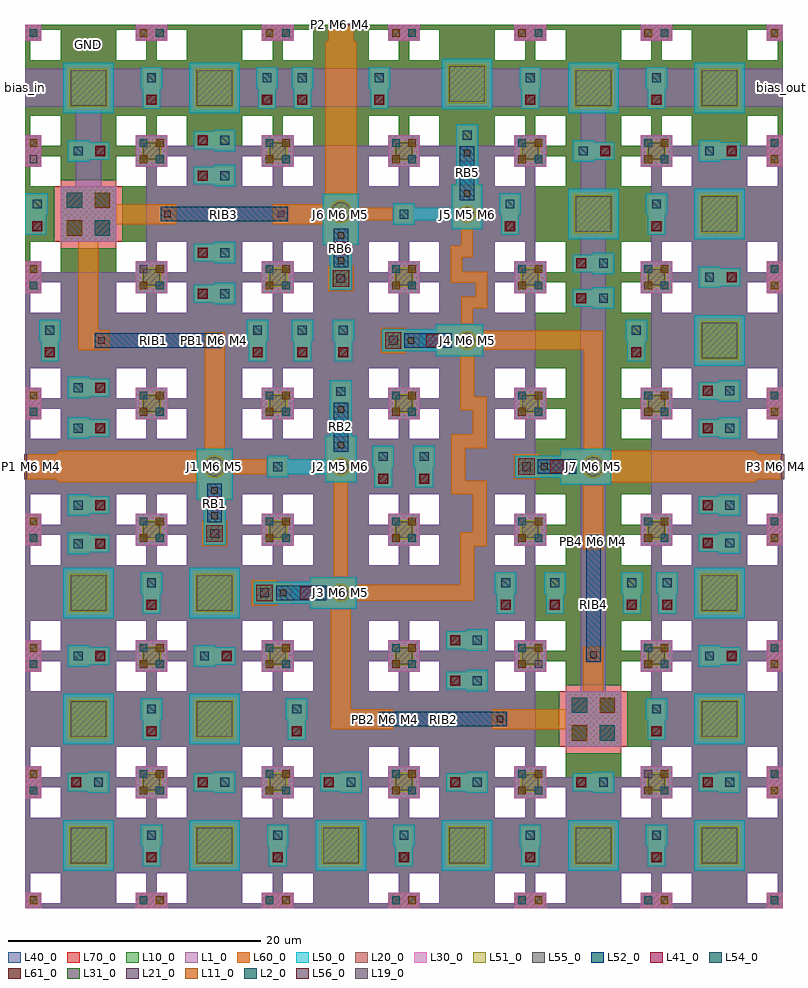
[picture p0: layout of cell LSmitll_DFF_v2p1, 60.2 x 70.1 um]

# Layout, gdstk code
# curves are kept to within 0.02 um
from math import pi, radians
import gdstk
lib = gdstk.Library(unit=1e-6, precision=1e-09)
def R(c, l, rs):  # rectangles x0, y0, x1, y1
    for r in rs: c.add(gdstk.rectangle(r[:2], r[2:], *l))
def P(c, l, *ps):  # polygons
    for p in ps: c.add(gdstk.Polygon(p, *l))
L1_0 = (1, 0)
L2_0 = (2, 0)
L10_0 = (10, 0)
L11_0 = (11, 0)
L19_0 = (19, 0)
L20_0 = (20, 0)
L21_0 = (21, 0)
L30_0 = (30, 0)
L31_0 = (31, 0)
L40_0 = (40, 0)
L41_0 = (41, 0)
L50_0 = (50, 0)
L51_0 = (51, 0)
L52_0 = (52, 0)
L54_0 = (54, 0)
L55_0 = (55, 0)
L56_0 = (56, 0)
L60_0 = (60, 0)
L61_0 = (61, 0)
L70_0 = (70, 0)

ls_tr_m7 = lib.new_cell('ls_tr_M7')
P(ls_tr_m7, L70_0, [(0,0),(0,10),(1.25,10),(1.25,8.75),(0.4,8.75),(0.4,1.25),(1.25,1.25),(1.25,0.4),(2.8,0.4),(2.8,2.8),(0.4,2.8),(0.4,7.2),(2.8,7.2),(2.8,9.6),(1.25,9.6),(1.25,10),(7.2,10),(7.2,0.4),(8.75,0.4),(8.75,1.25),(9.6,1.25),(9.6,2.8),(7.2,2.8),(7.2,7.2),(9.6,7.2),(9.6,8.75),(8.75,8.75),(8.75,9.6),(7.2,9.6),(7.2,10),(10,10),(10,0)])

ls_conn_m5m6 = lib.new_cell('ls_conn_M5M6')
R(ls_conn_m5m6, L50_0, [(0,0,1.7,1.7)])
R(ls_conn_m5m6, L54_0, [(0.5,0.5,1.2,1.2)])
R(ls_conn_m5m6, L60_0, [(0.15,0.15,1.55,1.55)])

ls_conn_m5m6m7 = lib.new_cell('ls_conn_M5M6M7')
R(ls_conn_m5m6m7, L50_0, [(-0.5,-0.5,1.2,1.2)])
R(ls_conn_m5m6m7, L54_0, [(0,0,0.7,0.7)])
R(ls_conn_m5m6m7, L60_0, [(-0.65,-0.65,1.35,1.35)])
R(ls_conn_m5m6m7, L61_0, [(-0.3,-0.3,1,1)])
R(ls_conn_m5m6m7, L70_0, [(-0.65,-0.65,1.35,1.35)])

ls_jj_169_sg = lib.new_cell('ls_jj_169_sg')
R(ls_jj_169_sg, L41_0, [(-0.5,2.25,0.5,3.25)])
R(ls_jj_169_sg, L50_0, [(-1.275,-1.275,1.275,2.475), (-0.875,2.475,0.875,6.725)])
P(ls_jj_169_sg, L51_0, [(0,-0.755),(-0.29,-0.7),(-0.535,-0.535),(-0.695,-0.29),(-0.755,0),(-0.695,0.285),(-0.535,0.53),(-0.29,0.695),(0,0.755),(0.29,0.695),(0.535,0.53),(0.695,0.285),(0.755,0),(0.695,-0.29),(0.535,-0.535),(0.29,-0.7)])
R(ls_jj_169_sg, L52_0, [(-0.575,1.2,0.575,4.975)])
R(ls_jj_169_sg, L54_0, [(-0.35,5.5,0.35,6.2)])
P(ls_jj_169_sg, L55_0, [(0,-0.6),(-0.12,-0.59),(-0.35,-0.5),(-0.56,-0.23),(-0.6,0),(-0.56,0.25),(-0.43,0.43),(-0.35,0.51),(-0.12,0.6),(0,0.61),(0.12,0.6),(0.35,0.51),(0.43,0.43),(0.56,0.25),(0.6,0),(0.56,-0.23),(0.43,-0.42),(0.35,-0.5),(0.12,-0.59)])
R(ls_jj_169_sg, L56_0, [(-0.26,1.48,0.26,2), (-0.26,4.18,0.26,4.7)])
R(ls_jj_169_sg, L60_0, [(-1.125,-1.125,1.125,2.375), (-0.725,3.8,0.725,6.575)])
ls_jj_169_sg.add(gdstk.Reference(ls_conn_m5m6m7, (-0.35,5.5)))

ls_ib_173 = lib.new_cell('ls_ib_173')
R(ls_ib_173, L52_0, [(-0.575,0,0.575,10.15)])
R(ls_ib_173, L56_0, [(-0.26,0.29,0.26,0.81), (-0.26,9.36,0.26,9.88)])
R(ls_ib_173, L60_0, [(-0.625,-0.1,0.625,1.175), (-0.625,9,0.625,10.25)])

ls_jj_161_s = lib.new_cell('ls_jj_161_s')
R(ls_jj_161_s, L50_0, [(-1.25,-1.25,1.25,2.45), (-0.875,2.45,0.875,6.825)])
P(ls_jj_161_s, L51_0, [(0,-0.735),(-0.28,-0.68),(-0.52,-0.52),(-0.68,-0.28),(-0.735,0),(-0.68,0.285),(-0.52,0.52),(-0.28,0.68),(0,0.74),(0.28,0.68),(0.52,0.52),(0.68,0.285),(0.735,0),(0.68,-0.28),(0.52,-0.52),(0.28,-0.68)])
R(ls_jj_161_s, L52_0, [(-0.575,1.175,0.575,5.075)])
R(ls_jj_161_s, L54_0, [(-0.35,5.6,0.35,6.3)])
P(ls_jj_161_s, L55_0, [(0,-0.59),(-0.22,-0.55),(-0.43,-0.42),(-0.59,-0.12),(-0.59,0.11),(-0.43,0.41),(-0.22,0.54),(0,0.58),(0.22,0.54),(0.43,0.41),(0.59,0.11),(0.59,-0.12),(0.43,-0.42),(0.22,-0.55)])
R(ls_jj_161_s, L56_0, [(-0.26,1.46,0.26,1.98), (-0.26,4.27,0.26,4.79)])
R(ls_jj_161_s, L60_0, [(-1.1,-1.1,1.1,2.35), (-0.725,3.9,0.725,6.675)])

ls_jj_250_sg = lib.new_cell('ls_jj_250_sg')
R(ls_jj_250_sg, L41_0, [(-0.5,2.4,0.5,3.4)])
R(ls_jj_250_sg, L50_0, [(-1.425,-1.425,1.425,2.625), (-0.875,2.625,0.875,6.175)])
P(ls_jj_250_sg, L51_0, [(0,-0.91),(-0.18,-0.895),(-0.35,-0.84),(-0.645,-0.645),(-0.84,-0.35),(-0.91,0),(-0.895,0.18),(-0.84,0.35),(-0.645,0.645),(-0.35,0.84),(-0.18,0.895),(0,0.91),(0.18,0.895),(0.35,0.84),(0.645,0.645),(0.84,0.35),(0.895,0.18),(0.91,0),(0.84,-0.35),(0.645,-0.645),(0.35,-0.84),(0.18,-0.895)])
R(ls_jj_250_sg, L52_0, [(-0.575,1.35,0.575,4.425)])
R(ls_jj_250_sg, L54_0, [(-0.35,4.95,0.35,5.65)])
P(ls_jj_250_sg, L55_0, [(0,-0.76),(-0.15,-0.75),(-0.29,-0.7),(-0.54,-0.54),(-0.7,-0.29),(-0.75,-0.15),(-0.76,0),(-0.75,0.15),(-0.7,0.29),(-0.54,0.54),(-0.29,0.7),(-0.15,0.75),(0,0.76),(0.15,0.75),(0.29,0.7),(0.54,0.54),(0.7,0.29),(0.75,0.15),(0.76,0),(0.75,-0.15),(0.7,-0.29),(0.54,-0.54),(0.29,-0.7),(0.15,-0.75)])
R(ls_jj_250_sg, L56_0, [(-0.26,1.64,0.26,2.16), (-0.26,3.63,0.26,4.15)])
R(ls_jj_250_sg, L60_0, [(-1.275,-1.275,1.275,2.525), (-0.725,3.25,0.725,6.025)])
ls_jj_250_sg.add(gdstk.Reference(ls_conn_m5m6m7, (-0.35,4.95)))

ls_tr_u_m4_alt = lib.new_cell('ls_tr_u_M4_alt')
R(ls_tr_u_m4_alt, L1_0, [(0,0,1.25,1.25), (8.75,0,10,1.25), (0,8.75,1.25,10), (8.75,8.75,10,10)])
R(ls_tr_u_m4_alt, L2_0, [(9.05,0.35,9.65,0.95), (0.35,9.05,0.95,9.65)])
R(ls_tr_u_m4_alt, L10_0, [(0,0,1.25,1.25), (1.25,0,8.75,0.4), (8.75,0,10,1.25), (2.8,0.4,7.2,9.6), (0,1.25,0.4,8.75), (9.6,1.25,10,8.75), (0.4,2.8,2.8,7.2), (7.2,2.8,9.6,7.2), (0,8.75,1.25,10), (8.75,8.75,10,10), (1.25,9.6,8.75,10)])
R(ls_tr_u_m4_alt, L11_0, [(0.35,0.35,0.95,0.95), (9.05,9.05,9.65,9.65)])
R(ls_tr_u_m4_alt, L20_0, [(0,0,1.25,1.25), (8.75,0,10,1.25), (0,8.75,1.25,10), (8.75,8.75,10,10)])
R(ls_tr_u_m4_alt, L21_0, [(9.05,0.35,9.65,0.95), (0.35,9.05,0.95,9.65)])
R(ls_tr_u_m4_alt, L30_0, [(0,0,1.25,1.25), (8.75,0,10,1.25), (0,8.75,1.25,10), (8.75,8.75,10,10)])
R(ls_tr_u_m4_alt, L31_0, [(0.35,0.35,0.95,0.95), (9.05,9.05,9.65,9.65)])
P(ls_tr_u_m4_alt, L40_0, [(0,0),(0,10),(1.25,10),(1.25,8.75),(0.4,8.75),(0.4,1.25),(1.25,1.25),(1.25,0.4),(2.8,0.4),(2.8,2.8),(0.4,2.8),(0.4,7.2),(2.8,7.2),(2.8,9.6),(1.25,9.6),(1.25,10),(7.2,10),(7.2,0.4),(8.75,0.4),(8.75,1.25),(9.6,1.25),(9.6,2.8),(7.2,2.8),(7.2,7.2),(9.6,7.2),(9.6,8.75),(8.75,8.75),(8.75,9.6),(7.2,9.6),(7.2,10),(10,10),(10,0)])

ls_conn_m4m5m6m7 = lib.new_cell('ls_conn_M4M5M6M7')
R(ls_conn_m4m5m6m7, L40_0, [(0,0,1.4,1.4)])
R(ls_conn_m4m5m6m7, L41_0, [(0.3,0.3,1.1,1.1)])
P(ls_conn_m4m5m6m7, L50_0, [(1.6,-0.15),(1.6,0),(0,0),(0,1.4),(1.6,1.4),(1.6,1.55),(3.3,1.55),(3.3,-0.15)])
R(ls_conn_m4m5m6m7, L54_0, [(2.1,0.35,2.8,1.05)])
R(ls_conn_m4m5m6m7, L60_0, [(0,0,3.15,1.4)])
R(ls_conn_m4m5m6m7, L61_0, [(0.35,0.35,1.05,1.05)])
R(ls_conn_m4m5m6m7, L70_0, [(0,0,1.4,1.4)])

ls_fakejj_1p5x1p5um = lib.new_cell('ls_FakeJJ_1p5x1p5um')
R(ls_fakejj_1p5x1p5um, L40_0, [(-1.25,-1.25,1.25,1.25)])
R(ls_fakejj_1p5x1p5um, L50_0, [(-1.25,-1.25,1.25,1.25)])
R(ls_fakejj_1p5x1p5um, L51_0, [(-0.75,-0.75,0.75,0.75)])
R(ls_fakejj_1p5x1p5um, L55_0, [(-0.65,-0.65,0.65,0.65)])
R(ls_fakejj_1p5x1p5um, L60_0, [(-1,-1,1,1)])

ls_tr_m0 = lib.new_cell('ls_tr_M0')
P(ls_tr_m0, L1_0, [(0,0),(0,10),(1.25,10),(1.25,8.75),(0.4,8.75),(0.4,1.25),(1.25,1.25),(1.25,0.4),(2.8,0.4),(2.8,2.8),(0.4,2.8),(0.4,7.2),(2.8,7.2),(2.8,9.6),(1.25,9.6),(1.25,10),(7.2,10),(7.2,0.4),(8.75,0.4),(8.75,1.25),(9.6,1.25),(9.6,2.8),(7.2,2.8),(7.2,7.2),(9.6,7.2),(9.6,8.75),(8.75,8.75),(8.75,9.6),(7.2,9.6),(7.2,10),(10,10),(10,0)])

ls_fakejj_3umx3um = lib.new_cell('ls_FakeJJ_3umx3um')
R(ls_fakejj_3umx3um, L40_0, [(-2,-2,2,2)])
R(ls_fakejj_3umx3um, L50_0, [(-2,-2,2,2)])
R(ls_fakejj_3umx3um, L51_0, [(-1.5,-1.5,1.5,1.5)])
R(ls_fakejj_3umx3um, L55_0, [(-1.4,-1.4,1.4,1.4)])
R(ls_fakejj_3umx3um, L60_0, [(-1.75,-1.75,1.75,1.75)])

ls_jj_138_s = lib.new_cell('ls_jj_138_s')
R(ls_jj_138_s, L50_0, [(-1.2,-1.2,1.2,2.375), (-0.875,2.375,0.875,7.125)])
P(ls_jj_138_s, L51_0, [(0,-0.685),(-0.26,-0.635),(-0.485,-0.485),(-0.63,-0.265),(-0.685,0),(-0.63,0.26),(-0.485,0.485),(-0.26,0.63),(0,0.685),(0.26,0.63),(0.485,0.485),(0.63,0.26),(0.685,0),(0.63,-0.265),(0.485,-0.485),(0.26,-0.635)])
R(ls_jj_138_s, L52_0, [(-0.575,1.1,0.575,5.375)])
R(ls_jj_138_s, L54_0, [(-0.35,5.9,0.35,6.6)])
P(ls_jj_138_s, L55_0, [(0,-0.53),(-0.2,-0.49),(-0.38,-0.37),(-0.49,-0.2),(-0.53,0),(-0.49,0.21),(-0.38,0.38),(-0.2,0.5),(0,0.54),(0.2,0.5),(0.38,0.38),(0.49,0.21),(0.53,0),(0.49,-0.2),(0.38,-0.37),(0.2,-0.49)])
R(ls_jj_138_s, L56_0, [(-0.26,1.38,0.26,1.9), (-0.26,4.58,0.26,5.1)])
R(ls_jj_138_s, L60_0, [(-1.05,-1.05,1.05,2.275), (-0.725,4.2,0.725,6.975)])

ls_tr_bias_pillar_m0m6 = lib.new_cell('ls_tr_bias_pillar_M0M6')
R(ls_tr_bias_pillar_m0m6, L1_0, [(0,0,1.25,1.25), (8.75,0,10,1.25), (2.8,2.8,7.2,7.2), (0,8.75,1.25,10), (8.75,8.75,10,10)])
R(ls_tr_bias_pillar_m0m6, L2_0, [(5.5,3.3,6.7,4.5), (3.3,5.5,4.5,6.7)])
R(ls_tr_bias_pillar_m0m6, L10_0, [(0,0,1.25,1.25), (8.75,0,10,1.25), (2.8,2.8,7.2,7.2), (0,8.75,1.25,10), (8.75,8.75,10,10)])
P(ls_tr_bias_pillar_m0m6, L10_0, [(0,0),(0,10),(7.2,10),(7.2,7.7),(2.8,7.7),(2.8,9.6),(1.25,9.6),(1.25,8.75),(0.4,8.75),(0.4,7.2),(2.3,7.2),(2.3,2.8),(0.4,2.8),(0.4,1.25),(1.25,1.25),(1.25,0.4),(2.8,0.4),(2.8,2.3),(7.2,2.3),(7.2,0.4),(8.75,0.4),(8.75,1.25),(9.6,1.25),(9.6,2.8),(7.7,2.8),(7.7,7.2),(9.6,7.2),(9.6,8.75),(8.75,8.75),(8.75,9.6),(7.2,9.6),(7.2,10),(10,10),(10,0)])
R(ls_tr_bias_pillar_m0m6, L11_0, [(0.35,0.35,0.95,0.95), (3.3,3.3,4.5,4.5), (5.5,5.5,6.7,6.7), (9.05,9.05,9.65,9.65)])
R(ls_tr_bias_pillar_m0m6, L20_0, [(0,0,1.25,1.25), (8.75,0,10,1.25), (2.8,2.8,7.2,7.2), (0,8.75,1.25,10), (8.75,8.75,10,10)])
R(ls_tr_bias_pillar_m0m6, L21_0, [(9.05,0.35,9.65,0.95), (5.5,3.3,6.7,4.5), (3.3,5.5,4.5,6.7), (0.35,9.05,0.95,9.65)])
R(ls_tr_bias_pillar_m0m6, L30_0, [(0,0,1.25,1.25), (8.75,0,10,1.25), (2.8,2.8,7.2,7.2), (0,8.75,1.25,10), (8.75,8.75,10,10)])
R(ls_tr_bias_pillar_m0m6, L31_0, [(0.35,0.35,0.95,0.95), (3.3,3.3,4.5,4.5), (5.5,5.5,6.7,6.7), (9.05,9.05,9.65,9.65)])
R(ls_tr_bias_pillar_m0m6, L40_0, [(2.8,2.8,7.2,7.2)])
P(ls_tr_bias_pillar_m0m6, L40_0, [(0,0),(0,10),(7.2,10),(7.2,7.7),(2.8,7.7),(2.8,9.6),(1.25,9.6),(1.25,8.75),(0.4,8.75),(0.4,7.2),(2.3,7.2),(2.3,2.8),(0.4,2.8),(0.4,1.25),(1.25,1.25),(1.25,0.4),(2.8,0.4),(2.8,2.3),(7.2,2.3),(7.2,0.4),(8.75,0.4),(8.75,1.25),(9.6,1.25),(9.6,2.8),(7.7,2.8),(7.7,7.2),(9.6,7.2),(9.6,8.75),(8.75,8.75),(8.75,9.6),(7.2,9.6),(7.2,10),(10,10),(10,0)])
R(ls_tr_bias_pillar_m0m6, L41_0, [(5.5,3.3,6.7,4.5), (3.3,5.5,4.5,6.7)])
R(ls_tr_bias_pillar_m0m6, L50_0, [(2.8,2.8,7.2,7.2)])
R(ls_tr_bias_pillar_m0m6, L54_0, [(3.3,3.3,4.5,4.5), (5.5,5.5,6.7,6.7)])
R(ls_tr_bias_pillar_m0m6, L60_0, [(2.8,2.8,7.2,7.2)])
P(ls_tr_bias_pillar_m0m6, L70_0, [(0,0),(0,10),(1.25,10),(1.25,8.75),(0.4,8.75),(0.4,1.25),(1.25,1.25),(1.25,0.4),(2.8,0.4),(2.8,2.8),(0.4,2.8),(0.4,7.2),(2.8,7.2),(2.8,9.6),(1.25,9.6),(1.25,10),(7.2,10),(7.2,0.4),(8.75,0.4),(8.75,1.25),(9.6,1.25),(9.6,2.8),(7.2,2.8),(7.2,7.2),(9.6,7.2),(9.6,8.75),(8.75,8.75),(8.75,9.6),(7.2,9.6),(7.2,10),(10,10),(10,0)])

ls_ib_175 = lib.new_cell('ls_ib_175')
R(ls_ib_175, L52_0, [(-0.575,0,0.575,10.05)])
R(ls_ib_175, L56_0, [(-0.26,0.29,0.26,0.81), (-0.26,9.26,0.26,9.78)])
R(ls_ib_175, L60_0, [(-0.625,-0.1,0.625,1.175), (-0.625,8.875,0.625,10.15)])

ls_jj_154_sg = lib.new_cell('ls_jj_154_sg')
R(ls_jj_154_sg, L41_0, [(-0.5,2.225,0.5,3.225)])
R(ls_jj_154_sg, L50_0, [(-1.25,-1.25,1.25,2.425), (-0.875,2.425,0.875,6.875)])
P(ls_jj_154_sg, L51_0, [(0,-0.72),(-0.275,-0.665),(-0.51,-0.51),(-0.665,-0.275),(-0.72,0),(-0.665,0.275),(-0.51,0.51),(-0.275,0.665),(0,0.72),(0.275,0.665),(0.51,0.51),(0.665,0.275),(0.72,0),(0.665,-0.275),(0.51,-0.51),(0.275,-0.665)])
R(ls_jj_154_sg, L52_0, [(-0.575,1.15,0.575,5.125)])
P(ls_jj_154_sg, L55_0, [(0,-0.57),(-0.22,-0.53),(-0.49,-0.32),(-0.57,0),(-0.49,0.32),(-0.32,0.48),(-0.22,0.53),(0,0.57),(0.22,0.53),(0.4,0.41),(0.49,0.32),(0.57,0),(0.49,-0.32),(0.22,-0.53)])
R(ls_jj_154_sg, L56_0, [(-0.26,1.42,0.26,1.94), (-0.26,4.34,0.26,4.86)])
R(ls_jj_154_sg, L60_0, [(-1.1,-1.1,1.1,2.325), (-0.725,3.95,0.725,6.725)])
ls_jj_154_sg.add(gdstk.Reference(ls_conn_m5m6m7, (-0.35,5.7)))

lsmitll_dff_v2p1 = lib.new_cell('LSmitll_DFF_v2p1')
R(lsmitll_dff_v2p1, L1_0, [(41.25,10,48.75,10.4), (40,11.25,40.4,58.75), (49.6,11.25,50,58.75), (1.25,50,8.75,50.4), (9.6,51.25,10,58.75), (11.25,60,38.75,60.4), (51.25,60,58.75,60.4)])
R(lsmitll_dff_v2p1, L19_0, [(28.3,14.8,28.75,15.25), (44.8,28.85,45.25,29.3), (14.75,44.75,15.25,45.25), (20,54.75,20.5,55.25)])
R(lsmitll_dff_v2p1, L50_0, [(0,53.35,0.3,56.65)])
R(lsmitll_dff_v2p1, L60_0, [(0,53.35,0.3,56.5)])
P(lsmitll_dff_v2p1, L60_0, [(23.75,68.55),(24,68.8),(24,68.55)],
  [(26,68.55),(26,68.8),(26.25,68.55)],
  [(57.8,36),(57.8,36.25),(58.05,36)],
  [(57.8,33.75),(57.8,34),(58.05,34)],
  [(2.45,36),(2.7,36.25),(2.7,36)],
  [(2.7,33.75),(2.45,34),(2.7,34)])
lsmitll_dff_v2p1.add(gdstk.FlexPath([(45,15),(45,20.75)], 1.6, ends="flush", simple_path=True, layer=60, datatype=0))  # L60_0
lsmitll_dff_v2p1.add(gdstk.FlexPath([(45,15),(36.95,15)], 1.6, ends="flush", simple_path=True, layer=60, datatype=0))  # L60_0
lsmitll_dff_v2p1.add(gdstk.FlexPath([(25,23.9),(25,15),(29.15,15)], 1.6, ends="flush", simple_path=True, layer=60, datatype=0))  # L60_0
lsmitll_dff_v2p1.add(gdstk.FlexPath([(5,55),(11.95,55)], 1.6, ends="flush", simple_path=True, layer=60, datatype=0))  # L60_0
lsmitll_dff_v2p1.add(gdstk.FlexPath([(19.6,55),(23.75,55)], 1.6, ends="flush", simple_path=True, layer=60, datatype=0))  # L60_0
lsmitll_dff_v2p1.add(gdstk.FlexPath([(6.7,45),(5,45),(5,55)], 1.6, ends="flush", simple_path=True, layer=60, datatype=0))  # L60_0
lsmitll_dff_v2p1.add(gdstk.FlexPath([(15,36.25),(15,45.65)], 1.6, ends="flush", simple_path=True, layer=60, datatype=0))  # L60_0
lsmitll_dff_v2p1.add(gdstk.FlexPath([(0,35),(13.75,35)], 2, ends="flush", simple_path=True, layer=60, datatype=0))  # L60_0
lsmitll_dff_v2p1.add(gdstk.FlexPath([(45,45.7),(45,36.15)], 1.5, ends="flush", simple_path=True, layer=60, datatype=0))  # L60_0
lsmitll_dff_v2p1.add(gdstk.FlexPath([(36.05,45),(45.75,45)], 1.5, ends="flush", simple_path=True, layer=60, datatype=0))  # L60_0
lsmitll_dff_v2p1.add(gdstk.FlexPath([(26.25,55),(30.7,55)], 1, ends="flush", simple_path=True, layer=60, datatype=0))  # L60_0
lsmitll_dff_v2p1.add(gdstk.FlexPath([(25,70),(25,56.25)], 2, ends="flush", simple_path=True, layer=60, datatype=0))  # L60_0
lsmitll_dff_v2p1.add(gdstk.FlexPath([(60,35),(46.25,35)], 2, ends="flush", simple_path=True, layer=60, datatype=0))  # L60_0
lsmitll_dff_v2p1.add(gdstk.FlexPath([(45,33.75),(45,28.4)], 1.6, ends="flush", simple_path=True, layer=60, datatype=0))  # L60_0
lsmitll_dff_v2p1.add(gdstk.FlexPath([(26,25),(35.55,25)], 1.25, ends="flush", simple_path=True, layer=60, datatype=0))  # L60_0
lsmitll_dff_v2p1.add(gdstk.FlexPath([(25,26.1),(25,33.95)], 1.1, ends="flush", simple_path=True, layer=60, datatype=0))  # L60_0
lsmitll_dff_v2p1.add(gdstk.FlexPath([(20.7,35),(16.25,35)], 1.2, ends="flush", simple_path=True, layer=60, datatype=0))  # L60_0
lsmitll_dff_v2p1.add(gdstk.FlexPath([(2.7,35),(14.45,35)], 2.5, ends="flush", simple_path=True, layer=60, datatype=0))  # L60_0
lsmitll_dff_v2p1.add(gdstk.FlexPath([(25,68.55),(25,55.8)], 2.5, ends="flush", simple_path=True, layer=60, datatype=0))  # L60_0
lsmitll_dff_v2p1.add(gdstk.FlexPath([(46.05,35),(57.8,35)], 2.5, ends="flush", simple_path=True, layer=60, datatype=0))  # L60_0
lsmitll_dff_v2p1.add(gdstk.FlexPath([(35,54),(35,52.05),(34.15,52.05),(34.15,50),(36.15,50),(36.15,48),(35,48),(35,46)], 0.9, ends="flush", simple_path=True, layer=60, datatype=0))  # L60_0
lsmitll_dff_v2p1.add(gdstk.FlexPath([(35,25),(35,29.25),(36,29.25),(36,33.35),(34.3,33.35),(34.3,37),(36,37),(36,40),(35,40),(35,43.9)], 1.1, ends="flush", simple_path=True, layer=60, datatype=0))  # L60_0
lsmitll_dff_v2p1.add(gdstk.FlexPath([(29.15,55),(33.85,55)], 1, ends="flush", simple_path=True, layer=50, datatype=0))  # L50_0
lsmitll_dff_v2p1.add(gdstk.FlexPath([(23.75,35),(19.15,35)], 1.2, ends="flush", simple_path=True, layer=50, datatype=0))  # L50_0
lsmitll_dff_v2p1.add(gdstk.FlexPath([(0,65),(60,65)], 3, ends="flush", simple_path=True, layer=1, datatype=0))  # L1_0
lsmitll_dff_v2p1.add(gdstk.FlexPath([(5,65),(5,55)], 2, ends="flush", simple_path=True, layer=1, datatype=0))  # L1_0
lsmitll_dff_v2p1.add(gdstk.FlexPath([(45,15),(45,65)], 2, ends="flush", simple_path=True, layer=1, datatype=0))  # L1_0
lsmitll_dff_v2p1.add(gdstk.FlexPath([(60,34),(60,36)], 0.2, ends="flush", simple_path=True, layer=19, datatype=0))  # L19_0
lsmitll_dff_v2p1.add(gdstk.FlexPath([(24,70),(26,70)], 0.2, ends="flush", simple_path=True, layer=19, datatype=0))  # L19_0
lsmitll_dff_v2p1.add(gdstk.FlexPath([(0,36),(0,34)], 0.2, ends="flush", simple_path=True, layer=19, datatype=0))  # L19_0
r = gdstk.Reference(ls_tr_m7, (0,0)); r.repetition = gdstk.Repetition(6, 7, v1=(10,0), v2=(0,10)); lsmitll_dff_v2p1.add(r)
lsmitll_dff_v2p1.add(gdstk.Reference(ls_conn_m5m6, (29.15,54.15)))
lsmitll_dff_v2p1.add(gdstk.Reference(ls_jj_169_sg, (35,45), rotation=pi/2))
lsmitll_dff_v2p1.add(gdstk.Reference(ls_ib_173, (38.15,15), rotation=pi/2))
lsmitll_dff_v2p1.add(gdstk.Reference(ls_conn_m5m6, (19.15,34.15)))
lsmitll_dff_v2p1.add(gdstk.Reference(ls_jj_161_s, (25,35)))
lsmitll_dff_v2p1.add(gdstk.Reference(ls_jj_250_sg, (15,35), rotation=pi))
lsmitll_dff_v2p1.add(gdstk.Reference(ls_tr_u_m4_alt, (40,30)))
lsmitll_dff_v2p1.add(gdstk.Reference(ls_tr_u_m4_alt, (30,30)))
lsmitll_dff_v2p1.add(gdstk.Reference(ls_tr_u_m4_alt, (20,30)))
lsmitll_dff_v2p1.add(gdstk.Reference(ls_tr_u_m4_alt, (10,30)))
lsmitll_dff_v2p1.add(gdstk.Reference(ls_tr_u_m4_alt, (0,30)))
lsmitll_dff_v2p1.add(gdstk.Reference(ls_tr_u_m4_alt, (50,30)))
lsmitll_dff_v2p1.add(gdstk.Reference(ls_jj_250_sg, (45,35), rotation=pi/2))
lsmitll_dff_v2p1.add(gdstk.Reference(ls_conn_m4m5m6m7, (32.3,33.35), rotation=pi/2))
lsmitll_dff_v2p1.add(gdstk.Reference(ls_conn_m4m5m6m7, (29.05,33.35), rotation=pi/2))
lsmitll_dff_v2p1.add(gdstk.Reference(ls_fakejj_1p5x1p5um, (30,60)))
lsmitll_dff_v2p1.add(gdstk.Reference(ls_fakejj_1p5x1p5um, (30,50)))
lsmitll_dff_v2p1.add(gdstk.Reference(ls_fakejj_1p5x1p5um, (30,40)))
lsmitll_dff_v2p1.add(gdstk.Reference(ls_fakejj_1p5x1p5um, (30,30)))
lsmitll_dff_v2p1.add(gdstk.Reference(ls_fakejj_1p5x1p5um, (30,20)))
lsmitll_dff_v2p1.add(gdstk.Reference(ls_conn_m4m5m6m7, (30.7,3.35), rotation=pi/2))
lsmitll_dff_v2p1.add(gdstk.Reference(ls_fakejj_1p5x1p5um, (30,10)))
lsmitll_dff_v2p1.add(gdstk.Reference(ls_tr_m0, (50,30)))
lsmitll_dff_v2p1.add(gdstk.Reference(ls_tr_m0, (30,30)))
lsmitll_dff_v2p1.add(gdstk.Reference(ls_tr_m0, (0,30)))
lsmitll_dff_v2p1.add(gdstk.Reference(ls_tr_m0, (10,30)))
lsmitll_dff_v2p1.add(gdstk.Reference(ls_tr_m0, (20,30)))
lsmitll_dff_v2p1.add(gdstk.Reference(ls_tr_u_m4_alt, (50,50)))
lsmitll_dff_v2p1.add(gdstk.Reference(ls_tr_u_m4_alt, (50,40)))
lsmitll_dff_v2p1.add(gdstk.Reference(ls_conn_m4m5m6m7, (56.65,59.3), rotation=pi, x_reflection=True))
lsmitll_dff_v2p1.add(gdstk.Reference(ls_conn_m4m5m6m7, (46.65,59.3), rotation=pi, x_reflection=True))
lsmitll_dff_v2p1.add(gdstk.Reference(ls_conn_m4m5m6m7, (53.35,37.35)))
lsmitll_dff_v2p1.add(gdstk.Reference(ls_conn_m4m5m6m7, (39.1,53.35), rotation=pi/2))
lsmitll_dff_v2p1.add(gdstk.Reference(ls_conn_m4m5m6m7, (49.1,43.35), rotation=pi/2))
lsmitll_dff_v2p1.add(gdstk.Reference(ls_conn_m4m5m6m7, (50.7,53.35), rotation=pi/2))
lsmitll_dff_v2p1.add(gdstk.Reference(ls_conn_m4m5m6m7, (50.7,63.35), rotation=pi/2))
lsmitll_dff_v2p1.add(gdstk.Reference(ls_conn_m4m5m6m7, (43.35,47.65)))
lsmitll_dff_v2p1.add(gdstk.Reference(ls_conn_m4m5m6m7, (40.7,63.35), rotation=pi/2))
lsmitll_dff_v2p1.add(gdstk.Reference(ls_fakejj_1p5x1p5um, (40,60)))
lsmitll_dff_v2p1.add(gdstk.Reference(ls_fakejj_1p5x1p5um, (50,60)))
lsmitll_dff_v2p1.add(gdstk.Reference(ls_fakejj_1p5x1p5um, (50,50)))
lsmitll_dff_v2p1.add(gdstk.Reference(ls_fakejj_1p5x1p5um, (40,50)))
lsmitll_dff_v2p1.add(gdstk.Reference(ls_tr_u_m4_alt, (40,40)))
lsmitll_dff_v2p1.add(gdstk.Reference(ls_tr_u_m4_alt, (40,50)))
lsmitll_dff_v2p1.add(gdstk.Reference(ls_fakejj_1p5x1p5um, (40,40)))
lsmitll_dff_v2p1.add(gdstk.Reference(ls_fakejj_1p5x1p5um, (50,40)))
lsmitll_dff_v2p1.add(gdstk.Reference(ls_tr_u_m4_alt, (40,60)))
lsmitll_dff_v2p1.add(gdstk.Reference(ls_tr_u_m4_alt, (30,60)))
lsmitll_dff_v2p1.add(gdstk.Reference(ls_fakejj_3umx3um, (35,65.3)))
lsmitll_dff_v2p1.add(gdstk.Reference(ls_fakejj_3umx3um, (45,65)))
lsmitll_dff_v2p1.add(gdstk.Reference(ls_fakejj_3umx3um, (55,65)))
lsmitll_dff_v2p1.add(gdstk.Reference(ls_fakejj_3umx3um, (55,55)))
lsmitll_dff_v2p1.add(gdstk.Reference(ls_fakejj_3umx3um, (45,55)))
lsmitll_dff_v2p1.add(gdstk.Reference(ls_fakejj_3umx3um, (55,45)))
lsmitll_dff_v2p1.add(gdstk.Reference(ls_tr_u_m4_alt, (30,50)))
lsmitll_dff_v2p1.add(gdstk.Reference(ls_tr_u_m4_alt, (30,40)))
lsmitll_dff_v2p1.add(gdstk.Reference(ls_tr_m0, (30,50)))
lsmitll_dff_v2p1.add(gdstk.Reference(ls_tr_m0, (50,50)))
lsmitll_dff_v2p1.add(gdstk.Reference(ls_tr_m0, (50,40)))
lsmitll_dff_v2p1.add(gdstk.Reference(ls_conn_m4m5m6m7, (43.35,50.4)))
lsmitll_dff_v2p1.add(gdstk.Reference(ls_conn_m4m5m6m7, (53.35,40.3)))
lsmitll_dff_v2p1.add(gdstk.Reference(ls_tr_m0, (30,40)))
lsmitll_dff_v2p1.add(gdstk.Reference(ls_jj_138_s, (35,55)))
lsmitll_dff_v2p1.add(gdstk.Reference(ls_conn_m4m5m6m7, (56.65,49.3), rotation=pi, x_reflection=True))
lsmitll_dff_v2p1.add(gdstk.Reference(ls_tr_u_m4_alt, (50,60)))
lsmitll_dff_v2p1.add(gdstk.Reference(ls_fakejj_1p5x1p5um, (10,60)))
lsmitll_dff_v2p1.add(gdstk.Reference(ls_fakejj_1p5x1p5um, (20,60)))
lsmitll_dff_v2p1.add(gdstk.Reference(ls_tr_u_m4_alt, (10,50)))
lsmitll_dff_v2p1.add(gdstk.Reference(ls_tr_u_m4_alt, (10,40)))
lsmitll_dff_v2p1.add(gdstk.Reference(ls_jj_250_sg, (25,55.2), rotation=pi))
lsmitll_dff_v2p1.add(gdstk.Reference(ls_conn_m4m5m6m7, (19.85,63.35), rotation=pi/2))
lsmitll_dff_v2p1.add(gdstk.Reference(ls_tr_u_m4_alt, (0,40)))
lsmitll_dff_v2p1.add(gdstk.Reference(ls_tr_u_m4_alt, (0,60)))
lsmitll_dff_v2p1.add(gdstk.Reference(ls_fakejj_1p5x1p5um, (20,50)))
lsmitll_dff_v2p1.add(gdstk.Reference(ls_fakejj_1p5x1p5um, (10,50)))
lsmitll_dff_v2p1.add(gdstk.Reference(ls_fakejj_1p5x1p5um, (10,40)))
lsmitll_dff_v2p1.add(gdstk.Reference(ls_fakejj_1p5x1p5um, (20,40)))
lsmitll_dff_v2p1.add(gdstk.Reference(ls_conn_m4m5m6m7, (1.65,53.35), rotation=pi/2))
lsmitll_dff_v2p1.add(gdstk.Reference(ls_conn_m4m5m6m7, (13.35,60.15)))
lsmitll_dff_v2p1.add(gdstk.Reference(ls_conn_m4m5m6m7, (10.7,63.35), rotation=pi/2))
lsmitll_dff_v2p1.add(gdstk.Reference(ls_conn_m4m5m6m7, (6.65,59.3), rotation=pi, x_reflection=True))
lsmitll_dff_v2p1.add(gdstk.Reference(ls_tr_bias_pillar_m0m6, (0,50)))
lsmitll_dff_v2p1.add(gdstk.Reference(ls_fakejj_3umx3um, (5,65)))
lsmitll_dff_v2p1.add(gdstk.Reference(ls_fakejj_3umx3um, (15,65)))
lsmitll_dff_v2p1.add(gdstk.Reference(ls_conn_m4m5m6m7, (6.65,37.35), rotation=pi, x_reflection=True))
lsmitll_dff_v2p1.add(gdstk.Reference(ls_ib_175, (15.55,45), rotation=pi/2))
lsmitll_dff_v2p1.add(gdstk.Reference(ls_conn_m4m5m6m7, (13.35,57.35)))
lsmitll_dff_v2p1.add(gdstk.Reference(ls_conn_m4m5m6m7, (13.35,51.25)))
lsmitll_dff_v2p1.add(gdstk.Reference(ls_conn_m4m5m6m7, (28.75,63.35), rotation=pi/2))
lsmitll_dff_v2p1.add(gdstk.Reference(ls_conn_m4m5m6m7, (22.65,63.35), rotation=pi/2))
lsmitll_dff_v2p1.add(gdstk.Reference(ls_ib_175, (20.8,55), rotation=pi/2))
lsmitll_dff_v2p1.add(gdstk.Reference(ls_tr_u_m4_alt, (20,40)))
lsmitll_dff_v2p1.add(gdstk.Reference(ls_tr_m0, (10,50)))
lsmitll_dff_v2p1.add(gdstk.Reference(ls_tr_m0, (20,50)))
lsmitll_dff_v2p1.add(gdstk.Reference(ls_tr_u_m4_alt, (20,50)))
lsmitll_dff_v2p1.add(gdstk.Reference(ls_tr_u_m4_alt, (20,60)))
lsmitll_dff_v2p1.add(gdstk.Reference(ls_conn_m4m5m6m7, (19.1,43.35), rotation=pi/2))
lsmitll_dff_v2p1.add(gdstk.Reference(ls_conn_m4m5m6m7, (13.35,48)))
lsmitll_dff_v2p1.add(gdstk.Reference(ls_conn_m4m5m6m7, (2.65,43.35), rotation=pi/2))
lsmitll_dff_v2p1.add(gdstk.Reference(ls_conn_m4m5m6m7, (6.65,40.55), rotation=pi, x_reflection=True))
lsmitll_dff_v2p1.add(gdstk.Reference(ls_tr_m0, (20,40)))
lsmitll_dff_v2p1.add(gdstk.Reference(ls_tr_m0, (10,40)))
lsmitll_dff_v2p1.add(gdstk.Reference(ls_tr_m0, (0,40)))
lsmitll_dff_v2p1.add(gdstk.Reference(ls_conn_m4m5m6m7, (22.65,43.35), rotation=pi/2))
lsmitll_dff_v2p1.add(gdstk.Reference(ls_conn_m4m5m6m7, (25.9,43.35), rotation=pi/2))
lsmitll_dff_v2p1.add(gdstk.Reference(ls_tr_u_m4_alt, (10,60)))
lsmitll_dff_v2p1.add(gdstk.Reference(ls_fakejj_3umx3um, (25,5)))
lsmitll_dff_v2p1.add(gdstk.Reference(ls_fakejj_3umx3um, (15,5)))
lsmitll_dff_v2p1.add(gdstk.Reference(ls_conn_m4m5m6m7, (10.7,23.35), rotation=pi/2))
lsmitll_dff_v2p1.add(gdstk.Reference(ls_conn_m4m5m6m7, (10.7,13.35), rotation=pi/2))
lsmitll_dff_v2p1.add(gdstk.Reference(ls_tr_u_m4_alt, (20,10)))
lsmitll_dff_v2p1.add(gdstk.Reference(ls_tr_u_m4_alt, (20,20)))
lsmitll_dff_v2p1.add(gdstk.Reference(ls_jj_154_sg, (25,25), rotation=3*pi/2, x_reflection=True))
lsmitll_dff_v2p1.add(gdstk.Reference(ls_conn_m4m5m6m7, (6.65,31.25), rotation=pi, x_reflection=True))
lsmitll_dff_v2p1.add(gdstk.Reference(ls_fakejj_3umx3um, (5,5)))
lsmitll_dff_v2p1.add(gdstk.Reference(ls_fakejj_3umx3um, (15,15)))
lsmitll_dff_v2p1.add(gdstk.Reference(ls_fakejj_3umx3um, (5,15)))
lsmitll_dff_v2p1.add(gdstk.Reference(ls_fakejj_3umx3um, (5,25)))
lsmitll_dff_v2p1.add(gdstk.Reference(ls_fakejj_3umx3um, (15,25)))
lsmitll_dff_v2p1.add(gdstk.Reference(ls_conn_m4m5m6m7, (10.7,3.35), rotation=pi/2))
lsmitll_dff_v2p1.add(gdstk.Reference(ls_conn_m4m5m6m7, (20.7,3.35), rotation=pi/2))
lsmitll_dff_v2p1.add(gdstk.Reference(ls_tr_u_m4_alt, (20,0)))
lsmitll_dff_v2p1.add(gdstk.Reference(ls_conn_m4m5m6m7, (13.35,9.3)))
lsmitll_dff_v2p1.add(gdstk.Reference(ls_conn_m4m5m6m7, (3.35,9.3)))
lsmitll_dff_v2p1.add(gdstk.Reference(ls_tr_u_m4_alt, (10,0)))
lsmitll_dff_v2p1.add(gdstk.Reference(ls_fakejj_1p5x1p5um, (20,10)))
lsmitll_dff_v2p1.add(gdstk.Reference(ls_fakejj_1p5x1p5um, (10,10)))
lsmitll_dff_v2p1.add(gdstk.Reference(ls_conn_m4m5m6m7, (6.65,28.2), rotation=pi, x_reflection=True))
lsmitll_dff_v2p1.add(gdstk.Reference(ls_conn_m4m5m6m7, (6.65,19.3), rotation=pi, x_reflection=True))
lsmitll_dff_v2p1.add(gdstk.Reference(ls_conn_m4m5m6m7, (16.65,19.3), rotation=pi, x_reflection=True))
lsmitll_dff_v2p1.add(gdstk.Reference(ls_tr_u_m4_alt, (0,0)))
lsmitll_dff_v2p1.add(gdstk.Reference(ls_tr_u_m4_alt, (10,20)))
lsmitll_dff_v2p1.add(gdstk.Reference(ls_tr_u_m4_alt, (10,10)))
lsmitll_dff_v2p1.add(gdstk.Reference(ls_conn_m4m5m6m7, (22.2,13.35), rotation=pi/2))
lsmitll_dff_v2p1.add(gdstk.Reference(ls_tr_u_m4_alt, (0,10)))
lsmitll_dff_v2p1.add(gdstk.Reference(ls_tr_u_m4_alt, (0,20)))
lsmitll_dff_v2p1.add(gdstk.Reference(ls_conn_m4m5m6m7, (23.35,9.3)))
lsmitll_dff_v2p1.add(gdstk.Reference(ls_fakejj_1p5x1p5um, (20,30)))
lsmitll_dff_v2p1.add(gdstk.Reference(ls_fakejj_1p5x1p5um, (10,30)))
lsmitll_dff_v2p1.add(gdstk.Reference(ls_fakejj_1p5x1p5um, (10,20)))
lsmitll_dff_v2p1.add(gdstk.Reference(ls_fakejj_1p5x1p5um, (20,20)))
lsmitll_dff_v2p1.add(gdstk.Reference(ls_tr_m0, (20,20)))
lsmitll_dff_v2p1.add(gdstk.Reference(ls_tr_m0, (10,20)))
lsmitll_dff_v2p1.add(gdstk.Reference(ls_tr_m0, (0,20)))
lsmitll_dff_v2p1.add(gdstk.Reference(ls_tr_m0, (0,10)))
lsmitll_dff_v2p1.add(gdstk.Reference(ls_tr_m0, (10,10)))
lsmitll_dff_v2p1.add(gdstk.Reference(ls_tr_m0, (20,10)))
lsmitll_dff_v2p1.add(gdstk.Reference(ls_tr_m0, (20,0)))
lsmitll_dff_v2p1.add(gdstk.Reference(ls_tr_m0, (10,0)))
lsmitll_dff_v2p1.add(gdstk.Reference(ls_tr_m0, (0,0)))
lsmitll_dff_v2p1.add(gdstk.Reference(ls_fakejj_3umx3um, (55,5)))
lsmitll_dff_v2p1.add(gdstk.Reference(ls_tr_bias_pillar_m0m6, (40,10)))
lsmitll_dff_v2p1.add(gdstk.Reference(ls_fakejj_3umx3um, (45,5)))
lsmitll_dff_v2p1.add(gdstk.Reference(ls_conn_m4m5m6m7, (40.7,3.35), rotation=pi/2))
lsmitll_dff_v2p1.add(gdstk.Reference(ls_conn_m4m5m6m7, (33.35,20.55)))
lsmitll_dff_v2p1.add(gdstk.Reference(ls_conn_m4m5m6m7, (33.35,17.35)))
lsmitll_dff_v2p1.add(gdstk.Reference(ls_conn_m4m5m6m7, (43.35,9.3)))
lsmitll_dff_v2p1.add(gdstk.Reference(ls_conn_m4m5m6m7, (53.35,9.3)))
lsmitll_dff_v2p1.add(gdstk.Reference(ls_fakejj_1p5x1p5um, (50,10)))
lsmitll_dff_v2p1.add(gdstk.Reference(ls_fakejj_1p5x1p5um, (40,10)))
lsmitll_dff_v2p1.add(gdstk.Reference(ls_conn_m4m5m6m7, (33.35,9.3)))
lsmitll_dff_v2p1.add(gdstk.Reference(ls_fakejj_1p5x1p5um, (50,30)))
lsmitll_dff_v2p1.add(gdstk.Reference(ls_fakejj_1p5x1p5um, (40,30)))
lsmitll_dff_v2p1.add(gdstk.Reference(ls_conn_m4m5m6m7, (42.65,23.35), rotation=pi/2))
lsmitll_dff_v2p1.add(gdstk.Reference(ls_conn_m4m5m6m7, (48.75,23.35), rotation=pi/2))
lsmitll_dff_v2p1.add(gdstk.Reference(ls_tr_u_m4_alt, (40,20)))
lsmitll_dff_v2p1.add(gdstk.Reference(ls_ib_175, (45,19.55)))
lsmitll_dff_v2p1.add(gdstk.Reference(ls_tr_u_m4_alt, (50,20)))
lsmitll_dff_v2p1.add(gdstk.Reference(ls_tr_u_m4_alt, (50,10)))
lsmitll_dff_v2p1.add(gdstk.Reference(ls_tr_m0, (50,20)))
lsmitll_dff_v2p1.add(gdstk.Reference(ls_tr_m0, (50,10)))
lsmitll_dff_v2p1.add(gdstk.Reference(ls_tr_m0, (50,0)))
lsmitll_dff_v2p1.add(gdstk.Reference(ls_tr_m0, (40,0)))
lsmitll_dff_v2p1.add(gdstk.Reference(ls_tr_m0, (30,0)))
lsmitll_dff_v2p1.add(gdstk.Reference(ls_tr_m0, (30,10)))
lsmitll_dff_v2p1.add(gdstk.Reference(ls_tr_m0, (30,20)))
lsmitll_dff_v2p1.add(gdstk.Reference(ls_fakejj_1p5x1p5um, (40,20)))
lsmitll_dff_v2p1.add(gdstk.Reference(ls_fakejj_1p5x1p5um, (50,20)))
lsmitll_dff_v2p1.add(gdstk.Reference(ls_fakejj_3umx3um, (35,5)))
lsmitll_dff_v2p1.add(gdstk.Reference(ls_conn_m4m5m6m7, (53.35,28.25)))
lsmitll_dff_v2p1.add(gdstk.Reference(ls_conn_m4m5m6m7, (51.55,23.35), rotation=pi/2))
lsmitll_dff_v2p1.add(gdstk.Reference(ls_conn_m4m5m6m7, (50.7,13.35), rotation=pi/2))
lsmitll_dff_v2p1.add(gdstk.Reference(ls_conn_m4m5m6m7, (53.35,31.25)))
lsmitll_dff_v2p1.add(gdstk.Reference(ls_tr_u_m4_alt, (50,0)))
lsmitll_dff_v2p1.add(gdstk.Reference(ls_tr_u_m4_alt, (40,0)))
lsmitll_dff_v2p1.add(gdstk.Reference(ls_conn_m4m5m6m7, (56.65,19.3), rotation=pi, x_reflection=True))
lsmitll_dff_v2p1.add(gdstk.Reference(ls_fakejj_3umx3um, (55,25)))
lsmitll_dff_v2p1.add(gdstk.Reference(ls_fakejj_3umx3um, (55,15)))
lsmitll_dff_v2p1.add(gdstk.Reference(ls_tr_u_m4_alt, (30,20)))
lsmitll_dff_v2p1.add(gdstk.Reference(ls_tr_u_m4_alt, (30,10)))
lsmitll_dff_v2p1.add(gdstk.Reference(ls_tr_u_m4_alt, (30,0)))
lsmitll_dff_v2p1.add(gdstk.Reference(ls_conn_m4m5m6m7, (38.75,23.35), rotation=pi/2))
lsmitll_dff_v2p1.add(gdstk.Reference(ls_conn_m4m5m6m7, (50.7,3.35), rotation=pi/2))
lsmitll_dff_v2p1.add(gdstk.Label('J7 M6 M5', (45,35), layer=182, texttype=0))
lsmitll_dff_v2p1.add(gdstk.Label('J6 M6 M5', (25,55), layer=182, texttype=0))
lsmitll_dff_v2p1.add(gdstk.Label('J5 M5 M6', (35,55), layer=182, texttype=0))
lsmitll_dff_v2p1.add(gdstk.Label('J4 M6 M5', (35,45), layer=182, texttype=0))
lsmitll_dff_v2p1.add(gdstk.Label('J3 M6 M5', (25,25), layer=182, texttype=0))
lsmitll_dff_v2p1.add(gdstk.Label('J2 M5 M6', (25,35), layer=182, texttype=0))
lsmitll_dff_v2p1.add(gdstk.Label('J1 M6 M5', (15,35), layer=182, texttype=0))
lsmitll_dff_v2p1.add(gdstk.Label('PB4 M6 M4', (45,29.05), layer=182, texttype=0))
lsmitll_dff_v2p1.add(gdstk.Label('PB3 M6 M4', (20.25,55), layer=182, texttype=0))
lsmitll_dff_v2p1.add(gdstk.Label('PB2 M6 M4', (28.5,15), layer=182, texttype=0))
lsmitll_dff_v2p1.add(gdstk.Label('PB1 M6 M4', (15,45), layer=182, texttype=0))
lsmitll_dff_v2p1.add(gdstk.Label('P3 M6 M4', (60,35), layer=182, texttype=0))
lsmitll_dff_v2p1.add(gdstk.Label('P2 M6 M4', (25,70), layer=182, texttype=0))
lsmitll_dff_v2p1.add(gdstk.Label('P1 M6 M4', (0,35), layer=182, texttype=0))
lsmitll_dff_v2p1.add(gdstk.Label('bias_in', (0,65), layer=182, texttype=0))
lsmitll_dff_v2p1.add(gdstk.Label('bias_out', (60,65), layer=182, texttype=0))
lsmitll_dff_v2p1.add(gdstk.Label('VDD', (1.525,65), layer=1, texttype=1))
lsmitll_dff_v2p1.add(gdstk.Label('GND', (4.975,68.4), layer=40, texttype=1))
lsmitll_dff_v2p1.add(gdstk.Label('RB1', (15,32.075), layer=52, texttype=1))
lsmitll_dff_v2p1.add(gdstk.Label('RB2', (25,38.15), layer=52, texttype=1))
lsmitll_dff_v2p1.add(gdstk.Label('RB3', (21.725,25.05), layer=52, texttype=1))
lsmitll_dff_v2p1.add(gdstk.Label('RB4', (31.9,45), layer=52, texttype=1))
lsmitll_dff_v2p1.add(gdstk.Label('RB5', (35.025,58.3), layer=52, texttype=1))
lsmitll_dff_v2p1.add(gdstk.Label('RB6', (25,52.25), layer=52, texttype=1))
lsmitll_dff_v2p1.add(gdstk.Label('RB7', (42.05,34.975), layer=52, texttype=1))
lsmitll_dff_v2p1.add(gdstk.Label('RIB1', (10.175,45), layer=52, texttype=1))
lsmitll_dff_v2p1.add(gdstk.Label('RIB2', (33.1,14.975), layer=52, texttype=1))
lsmitll_dff_v2p1.add(gdstk.Label('RIB3', (15.7,54.975), layer=52, texttype=1))
lsmitll_dff_v2p1.add(gdstk.Label('RIB4', (45,24.05), layer=52, texttype=1))
lsmitll_dff_v2p1.add(gdstk.Label('a', (0.05,34.075), layer=60, texttype=1))
lsmitll_dff_v2p1.add(gdstk.Label('q', (59.95,34.075), layer=60, texttype=1))
lsmitll_dff_v2p1.add(gdstk.Label('clk', (24.075,69.95), layer=60, texttype=1))

lib.write_gds('LSmitll_DFF_v2p1.gds')
